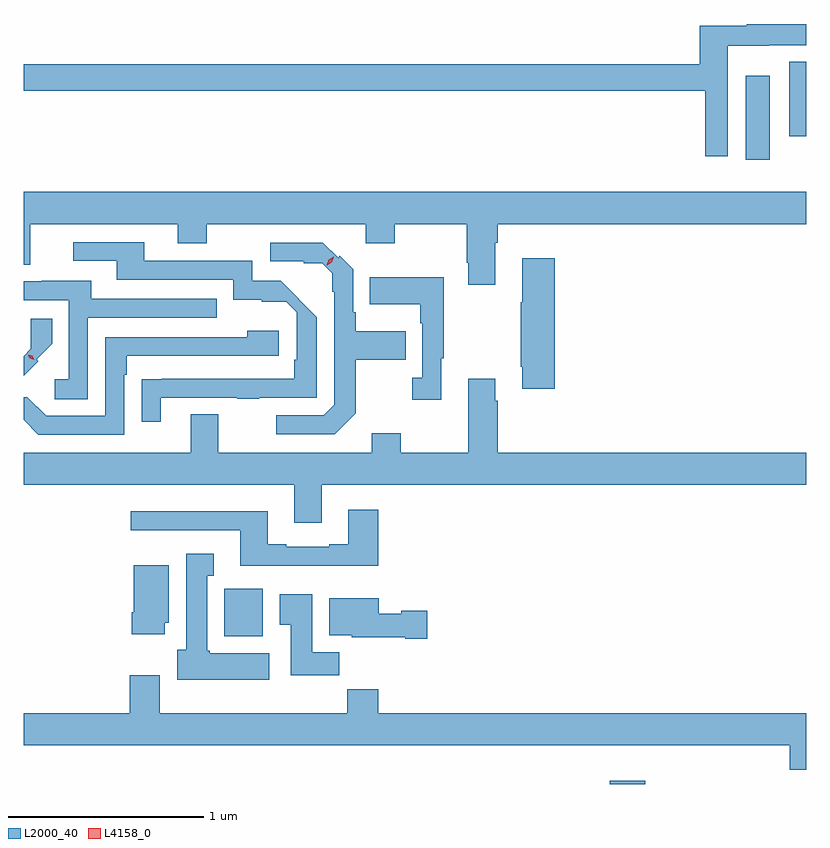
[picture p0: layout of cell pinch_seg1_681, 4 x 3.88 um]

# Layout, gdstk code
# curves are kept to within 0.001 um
import gdstk
lib = gdstk.Library(unit=1e-6, precision=1e-09)
def R(c, l, rs):  # rectangles x0, y0, x1, y1
    for r in rs: c.add(gdstk.rectangle(r[:2], r[2:], *l))
def P(c, l, *ps):  # polygons
    for p in ps: c.add(gdstk.Polygon(p, *l))
L2000_40 = (2000, 40)
L4158_0 = (4158, 0)

pinch_seg1_681 = lib.new_cell('pinch_seg1_681')
R(pinch_seg1_681, L2000_40, [(661.058,544.875,661.241,544.891), (659.09,545.63,659.287,545.872), (661.754,548.064,661.876,548.494), (661.976,548.184,662.064,548.564)])
P(pinch_seg1_681, L2000_40, [(661.662,548.648),(661.872,548.648),(661.872,548.649),(662.064,548.649),(662.064,548.758),(661.759,548.758),(661.759,548.748),(661.52,548.748),(661.52,548.552),(658.064,548.552),(658.064,548.416),(661.546,548.416),(661.546,548.082),(661.662,548.082)],
  [(660.475,547.64),(660.488,547.64),(660.488,547.736),(662.064,547.736),(662.064,547.9),(658.064,547.9),(658.064,547.528),(658.099,547.528),(658.099,547.736),(658.853,547.736),(658.853,547.637),(659.001,547.637),(659.001,547.736),(659.813,547.736),(659.813,547.637),(659.961,547.637),(659.961,547.736),(660.328,547.736),(660.328,547.537),(660.335,547.537),(660.335,547.425),(660.475,547.425)],
  [(658.765,546.849),(659.155,546.849),(659.155,546.844),(659.267,546.844),(659.267,546.849),(659.562,546.849),(659.562,547.261),(659.377,547.446),(659.232,547.446),(659.232,547.548),(658.681,547.548),(658.681,547.644),(658.317,547.644),(658.317,547.548),(658.541,547.548),(658.541,547.452),(659.136,547.452),(659.136,547.349),(659.28,547.349),(659.28,547.34),(659.405,547.34),(659.46,547.285),(659.46,547.042),(659.446,547.042),(659.446,546.945),(658.669,546.944),(658.669,546.726),(658.765,546.726)],
  [(659.761,546.769),(659.761,547.042),(660.017,547.042),(660.017,547.189),(659.761,547.189),(659.761,547.285),(659.748,547.285),(659.748,547.504),(659.68,547.573),(659.671,547.564),(659.593,547.641),(659.325,547.641),(659.325,547.545),(659.496,547.545),(659.496,547.535),(659.591,547.535),(659.642,547.484),(659.642,547.391),(659.652,547.391),(659.652,546.813),(659.598,546.759),(659.355,546.759),(659.355,546.663),(659.655,546.663)],
  [(660.779,547.561),(660.611,547.561),(660.611,547.337),(660.604,547.337),(660.604,547.006),(660.611,547.006),(660.611,546.894),(660.779,546.894)],
  [(660.199,547.049),(660.211,547.049),(660.211,547.465),(659.833,547.465),(659.833,547.325),(660.09,547.325),(660.09,547.229),(660.102,547.229),(660.102,546.95),(660.051,546.95),(660.051,546.837),(660.199,546.837)],
  [(658.392,547.257),(659.051,547.257),(659.051,547.353),(658.411,547.353),(658.411,547.447),(658.157,547.447),(658.157,547.443),(658.064,547.443),(658.064,547.347),(658.296,547.347),(658.296,546.942),(658.224,546.942),(658.224,546.841),(658.392,546.841)],
  [(658.139,547.036),(658.131,547.045),(658.211,547.125),(658.211,547.252),(658.101,547.252),(658.101,547.098),(658.064,547.061),(658.064,546.961)],
  [(658.578,546.965),(658.591,546.965),(658.591,547.062),(659.368,547.062),(659.368,547.192),(659.207,547.192),(659.207,547.158),(658.482,547.158),(658.482,546.756),(658.179,546.756),(658.083,546.852),(658.064,546.852),(658.064,546.735),(658.139,546.66),(658.578,546.66)],
  [(659.587,546.404),(662.064,546.404),(662.064,546.568),(660.488,546.568),(660.488,546.833),(660.475,546.833),(660.475,546.946),(660.335,546.946),(660.335,546.568),(659.991,546.568),(659.991,546.667),(659.843,546.667),(659.843,546.568),(659.059,546.568),(659.059,546.763),(658.919,546.763),(658.919,546.568),(658.064,546.568),(658.064,546.404),(659.447,546.404),(659.447,546.21),(659.587,546.21)],
  [(659.876,546.277),(659.723,546.277),(659.723,546.1),(659.627,546.1),(659.627,546.087),(659.407,546.087),(659.407,546.1),(659.311,546.1),(659.311,546.268),(658.611,546.268),(658.611,546.171),(659.171,546.171),(659.171,545.99),(659.876,545.99)],
  [(659.32,545.542),(659.016,545.542),(659.016,545.556),(659.002,545.556),(659.002,545.939),(659.035,545.939),(659.035,546.052),(658.895,546.052),(658.895,545.562),(658.85,545.562),(658.85,545.408),(659.32,545.408)],
  [(658.786,545.7),(658.807,545.7),(658.807,545.992),(658.628,545.992),(658.628,545.752),(658.616,545.752),(658.616,545.64),(658.786,545.64)],
  [(659.678,545.548),(659.539,545.548),(659.539,545.845),(659.372,545.845),(659.372,545.689),(659.429,545.689),(659.429,545.43),(659.678,545.43)],
  [(660.127,545.759),(659.994,545.759),(659.994,545.746),(659.878,545.746),(659.878,545.824),(659.627,545.824),(659.627,545.636),(659.742,545.636),(659.742,545.624),(660.014,545.624),(660.014,545.617),(660.127,545.617)],
  [(662.064,545.236),(659.876,545.236),(659.876,545.36),(659.719,545.36),(659.719,545.236),(658.759,545.236),(658.759,545.431),(658.607,545.431),(658.607,545.236),(658.064,545.236),(658.064,545.072),(661.979,545.072),(661.979,544.948),(662.064,544.948)])
P(pinch_seg1_681, L4158_0, [(659.614,547.526),(659.614,547.526),(659.624,547.554),(659.648,547.569),(659.649,547.569),(659.649,547.569),(659.639,547.542),(659.615,547.526)],
  [(658.118,547.043),(658.096,547.049),(658.088,547.069),(658.088,547.069),(658.088,547.069),(658.109,547.064),(658.118,547.043),(658.118,547.043)])

lib.write_gds('pinch_seg1_681.gds')
